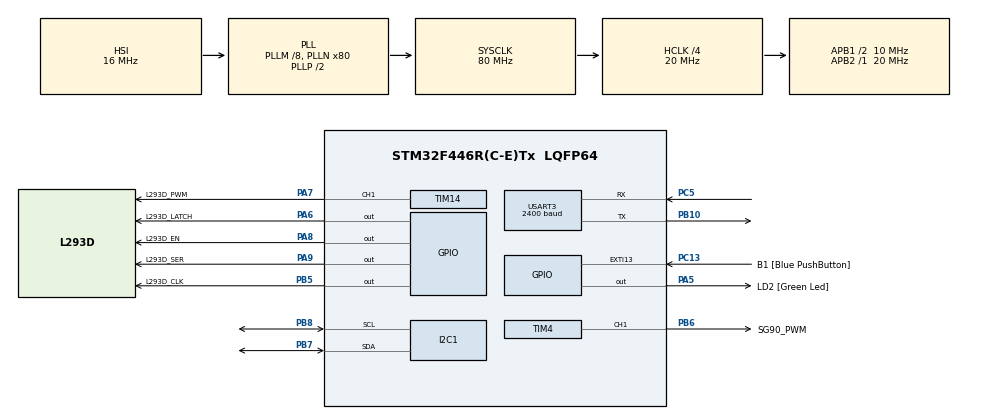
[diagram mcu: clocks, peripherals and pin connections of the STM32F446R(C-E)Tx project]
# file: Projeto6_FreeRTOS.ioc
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Mcu.Family=STM32F4
FREERTOS.Queues01=queueMagnetometro,1,float,0,Dynamic,NULL,NULL;queueBluetooth,16,char,0,Dynamic,NULL,NULL;queueMotorDC,1,uint8_t,0,Dynamic,NULL,NULL;queueServoMotor,1,uint16_t,0,Dynamic,NULL,NULL
RCC.CortexFreq_Value=20000000
PB10.Mode=Asynchronous
PA14.GPIO_Label=TCK
PA6.GPIO_Label=L293D_LATCH
PB6.GPIO_Label=SG90_PWM
PC5.Mode=Asynchronous
PC13.GPIO_Label=B1 [Blue PushButton]
RCC.SYSCLKSource=RCC_SYSCLKSOURCE_PLLCLK
ProjectManager.StackSize=0x400
VP_FREERTOS_VS_CMSIS_V2.Mode=CMSIS_V2
USART3.BaudRate=2400
SH.S_TIM14_CH1.0=TIM14_CH1,PWM Generation1 CH1
RCC.HCLKFreq_Value=20000000
RCC.APB2TimFreq_Value=20000000
TIM4.Pulse-PWM\ Generation1\ CH1=75
PB6.Signal=S_TIM4_CH1
RCC.AHBFreq_Value=20000000
RCC.HSE_VALUE=8000000
PA14.Mode=Serial_Wire
VP_SYS_VS_tim1.Mode=TIM1
PB7.Signal=I2C1_SDA
PA8.Signal=GPIO_Output
TIM4.Period=1250 -1
RCC.FLatency-AdvancedSettings=FLASH_LATENCY_0
Mcu.Package=LQFP64
PA6.Signal=GPIO_Output
NVIC.TimeBase=TIM1_UP_TIM10_IRQn
NVIC.TimeBaseIP=TIM1
PB5.GPIO_Label=L293D_CLK
SH.S_TIM4_CH1.0=TIM4_CH1,PWM Generation1 CH1
RCC.APB1TimFreq_Value=20000000
PC5.Signal=USART3_RX
VP_TIM14_VS_ClockSourceINT.Mode=Enable_Timer
PB3.GPIO_Label=SWO
TIM4.Channel-PWM\ Generation1\ CH1=TIM_CHANNEL_1
FREERTOS.Tasks01=controlador,24,128,startControlador,Default,NULL,Dynamic,NULL,NULL;magnetometro,24,128,startMagnetometro,Default,NULL,Dynamic,NULL,NULL;servoMotor,24,128,startServoMotor,Default,NULL,Dynamic,NULL,NULL;bluetooth,24,128,startBluetooth,Default,NULL,Dynamic,NULL,NULL;motorDC,24,128,startMotorDC,Default,NULL,Dynamic,NULL,NULL
PC13.Signal=GPXTI13
PA9.GPIO_Label=L293D_SER
RCC.APB1CLKDivider=RCC_HCLK_DIV2
PA13.Signal=SYS_JTMS-SWDIO
PA8.GPIO_Label=L293D_EN
ProjectManager.TargetToolchain=STM32CubeIDE
PA9.Signal=GPIO_Output
RCC.USBFreq_Value=80000000
TIM4.Prescaler=320-1
PB10.Signal=USART3_TX
PA5.Signal=GPIO_Output
board=NUCLEO-F446RE
RCC.VCOOutputFreq_Value=160000000
RCC.APB2Freq_Value=20000000
TIM14.Channel=TIM_CHANNEL_1
RCC.AHBCLKDivider=RCC_SYSCLK_DIV4
PA13.Mode=Serial_Wire
Mcu.Name=STM32F446R(C-E)Tx
PA13.GPIO_Label=TMS
RCC.48MHZClocksFreq_Value=84000000
PB3.Signal=SYS_JTDO-SWO
RCC.SYSCLKFreq_VALUE=80000000
PB5.Signal=GPIO_Output
PA7.GPIO_Label=L293D_PWM
PA5.GPIO_Label=LD2 [Green Led]
PC13.GPIO_ModeDefaultEXTI=GPIO_MODE_IT_FALLING
USART3.VirtualMode=VM_ASYNC
PB7.Mode=I2C
PA14.Signal=SYS_JTCK-SWCLK
ProjectManager.HeapSize=0x200
NVIC.TIM1_UP_TIM10_IRQn=true\:0\:0\:false\:false\:true\:false\:false\:true
RCC.HSI_VALUE=16000000
VP_TIM4_VS_ClockSourceINT.Mode=Internal
NVIC.PriorityGroup=NVIC_PRIORITYGROUP_4
RCC.PLLM=8
PB8.Mode=I2C
RCC.PLLN=80
PB8.Signal=I2C1_SCL
RCC.APB1Freq_Value=10000000
PA7.Signal=S_TIM14_CH1

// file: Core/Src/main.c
/* USER CODE BEGIN Header */
/**
  ******************************************************************************
  * @file           : main.c
  * @brief          : Main program body
  ******************************************************************************
  * @attention
  *
  * <h2><center>&copy; Copyright (c) 2023 STMicroelectronics.
  * All rights reserved.</center></h2>
  *
  * This software component is licensed by ST under BSD 3-Clause license,
  * the "License"; You may not use this file except in compliance with the
  * License. You may obtain a copy of the License at:
  *                        opensource.org/licenses/BSD-3-Clause
  *
  ******************************************************************************
  */
/* USER CODE END Header */
#include "main.h"
#include "cmsis_os.h"

/* USER CODE BEGIN Includes */

#include "SERVOMOTOR.h"
#include "L293D.h"
#include "bluetooth.h"
#include "MAGNETOMETRO.h"
#include "queue.h"

/* USER CODE END Includes */

/* USER CODE BEGIN PD */

#define TEMPLO_CICLO_CONTROLE 5000
#define NUMERO_DE_LEITURAS_MAGNETOMETRO 5

#define BIT_MAGNETOMETRO 0x01
#define BIT_BLUETOOTH 0x02
#define BIT_SERVO_MOTOR 0x04
#define BIT_MOTOR_DC 0x08

/* USER CODE END PD */

I2C_HandleTypeDef hi2c1;

TIM_HandleTypeDef htim4;
TIM_HandleTypeDef htim14;

UART_HandleTypeDef huart3;

/* Definitions for controlador */
osThreadId_t controladorHandle;
const osThreadAttr_t controlador_attributes = {
  .name = "controlador",
  .stack_size = 128 * 4,
  .priority = (osPriority_t) osPriorityNormal,
};
/* Definitions for magnetometro */
osThreadId_t magnetometroHandle;
const osThreadAttr_t magnetometro_attributes = {
  .name = "magnetometro",
  .stack_size = 128 * 4,
  .priority = (osPriority_t) osPriorityNormal,
};
/* Definitions for servoMotor */
osThreadId_t servoMotorHandle;
const osThreadAttr_t servoMotor_attributes = {
  .name = "servoMotor",
  .stack_size = 128 * 4,
  .priority = (osPriority_t) osPriorityNormal,
};
/* Definitions for bluetooth */
osThreadId_t bluetoothHandle;
const osThreadAttr_t bluetooth_attributes = {
  .name = "bluetooth",
  .stack_size = 128 * 4,
  .priority = (osPriority_t) osPriorityNormal,
};
/* Definitions for motorDC */
osThreadId_t motorDCHandle;
const osThreadAttr_t motorDC_attributes = {
  .name = "motorDC",
  .stack_size = 128 * 4,
  .priority = (osPriority_t) osPriorityNormal,
};
/* Definitions for queueMagnetometro */
osMessageQueueId_t queueMagnetometroHandle;
const osMessageQueueAttr_t queueMagnetometro_attributes = {
  .name = "queueMagnetometro"
};
/* Definitions for queueBluetooth */
osMessageQueueId_t queueBluetoothHandle;
const osMessageQueueAttr_t queueBluetooth_attributes = {
  .name = "queueBluetooth"
};
/* Definitions for queueMotorDC */
osMessageQueueId_t queueMotorDCHandle;
const osMessageQueueAttr_t queueMotorDC_attributes = {
  .name = "queueMotorDC"
};
/* Definitions for queueServoMotor */
osMessageQueueId_t queueServoMotorHandle;
const osMessageQueueAttr_t queueServoMotor_attributes = {
  .name = "queueServoMotor"
};
/* USER CODE BEGIN PV */

osEventFlagsId_t grupoEventosBarco;

/* USER CODE END PV */

void SystemClock_Config(void);
static void MX_GPIO_Init(void);
static void MX_I2C1_Init(void);
static void MX_TIM4_Init(void);
static void MX_TIM14_Init(void);
static void MX_USART3_UART_Init(void);
void startControlador(void *argument);
void startMagnetometro(void *argument);
void startServoMotor(void *argument);
void startBluetooth(void *argument);
void startMotorDC(void *argument);

int main(void)
{

  /* MCU Configuration--------------------------------------------------------*/

  /* Reset of all peripherals, Initializes the Flash interface and the Systick. */
  HAL_Init();

  /* Configure the system clock */
  SystemClock_Config();

  /* Initialize all configured peripherals */
  MX_GPIO_Init();
  MX_I2C1_Init();
  MX_TIM4_Init();
  MX_TIM14_Init();
  MX_USART3_UART_Init();

  /* Init scheduler */
  osKernelInitialize();

  /* Create the queue(s) */
  /* creation of queueMagnetometro */
  queueMagnetometroHandle = osMessageQueueNew (1, sizeof(float), &queueMagnetometro_attributes);

  /* creation of queueBluetooth */
  queueBluetoothHandle = osMessageQueueNew (16, sizeof(char), &queueBluetooth_attributes);

  /* creation of queueMotorDC */
  queueMotorDCHandle = osMessageQueueNew (1, sizeof(uint8_t), &queueMotorDC_attributes);

  /* creation of queueServoMotor */
  queueServoMotorHandle = osMessageQueueNew (1, sizeof(uint16_t), &queueServoMotor_attributes);

  /* Create the thread(s) */
  /* creation of controlador */
  controladorHandle = osThreadNew(startControlador, NULL, &controlador_attributes);

  /* creation of magnetometro */
  magnetometroHandle = osThreadNew(startMagnetometro, NULL, &magnetometro_attributes);

  /* creation of servoMotor */
  servoMotorHandle = osThreadNew(startServoMotor, NULL, &servoMotor_attributes);

  /* creation of bluetooth */
  bluetoothHandle = osThreadNew(startBluetooth, NULL, &bluetooth_attributes);

  /* creation of motorDC */
  motorDCHandle = osThreadNew(startMotorDC, NULL, &motorDC_attributes);

  /* USER CODE BEGIN RTOS_THREADS */
  // Declara grupo de eventos utilizado
  grupoEventosBarco = osEventFlagsNew(NULL);

  /* add threads, ... */
  /* USER CODE END RTOS_THREADS */

  /* Start scheduler */
  osKernelStart();

  /* We should never get here as control is now taken by the scheduler */
  /* Infinite loop */
  while (1)
  {

  }
}

void SystemClock_Config(void)
{
  RCC_OscInitTypeDef RCC_OscInitStruct = {0};
  RCC_ClkInitTypeDef RCC_ClkInitStruct = {0};

  /** Configure the main internal regulator output voltage
  */
  __HAL_RCC_PWR_CLK_ENABLE();
  __HAL_PWR_VOLTAGESCALING_CONFIG(PWR_REGULATOR_VOLTAGE_SCALE3);
  /** Initializes the RCC Oscillators according to the specified parameters
  * in the RCC_OscInitTypeDef structure.
  */
  RCC_OscInitStruct.OscillatorType = RCC_OSCILLATORTYPE_HSI;
  RCC_OscInitStruct.HSIState = RCC_HSI_ON;
  RCC_OscInitStruct.HSICalibrationValue = RCC_HSICALIBRATION_DEFAULT;
  RCC_OscInitStruct.PLL.PLLState = RCC_PLL_ON;
  RCC_OscInitStruct.PLL.PLLSource = RCC_PLLSOURCE_HSI;
  RCC_OscInitStruct.PLL.PLLM = 8;
  RCC_OscInitStruct.PLL.PLLN = 80;
  RCC_OscInitStruct.PLL.PLLP = RCC_PLLP_DIV2;
  RCC_OscInitStruct.PLL.PLLQ = 2;
  RCC_OscInitStruct.PLL.PLLR = 2;
  if (HAL_RCC_OscConfig(&RCC_OscInitStruct) != HAL_OK)
  {
    Error_Handler();
  }
  /** Initializes the CPU, AHB and APB buses clocks
  */
  RCC_ClkInitStruct.ClockType = RCC_CLOCKTYPE_HCLK|RCC_CLOCKTYPE_SYSCLK
                              |RCC_CLOCKTYPE_PCLK1|RCC_CLOCKTYPE_PCLK2;
  RCC_ClkInitStruct.SYSCLKSource = RCC_SYSCLKSOURCE_PLLCLK;
  RCC_ClkInitStruct.AHBCLKDivider = RCC_SYSCLK_DIV4;
  RCC_ClkInitStruct.APB1CLKDivider = RCC_HCLK_DIV2;
  RCC_ClkInitStruct.APB2CLKDivider = RCC_HCLK_DIV1;

  if (HAL_RCC_ClockConfig(&RCC_ClkInitStruct, FLASH_LATENCY_0) != HAL_OK)
  {
    Error_Handler();
  }
}

static void MX_I2C1_Init(void)
{

  hi2c1.Instance = I2C1;
  hi2c1.Init.ClockSpeed = 100000;
  hi2c1.Init.DutyCycle = I2C_DUTYCYCLE_2;
  hi2c1.Init.OwnAddress1 = 0;
  hi2c1.Init.AddressingMode = I2C_ADDRESSINGMODE_7BIT;
  hi2c1.Init.DualAddressMode = I2C_DUALADDRESS_DISABLE;
  hi2c1.Init.OwnAddress2 = 0;
  hi2c1.Init.GeneralCallMode = I2C_GENERALCALL_DISABLE;
  hi2c1.Init.NoStretchMode = I2C_NOSTRETCH_DISABLE;
  if (HAL_I2C_Init(&hi2c1) != HAL_OK)
  {
    Error_Handler();
  }

}

static void MX_TIM4_Init(void)
{

  TIM_ClockConfigTypeDef sClockSourceConfig = {0};
  TIM_MasterConfigTypeDef sMasterConfig = {0};
  TIM_OC_InitTypeDef sConfigOC = {0};

  htim4.Instance = TIM4;
  htim4.Init.Prescaler = 320-1;
  htim4.Init.CounterMode = TIM_COUNTERMODE_UP;
  htim4.Init.Period = 1250 -1;
  htim4.Init.ClockDivision = TIM_CLOCKDIVISION_DIV1;
  htim4.Init.AutoReloadPreload = TIM_AUTORELOAD_PRELOAD_DISABLE;
  if (HAL_TIM_Base_Init(&htim4) != HAL_OK)
  {
    Error_Handler();
  }
  sClockSourceConfig.ClockSource = TIM_CLOCKSOURCE_INTERNAL;
  if (HAL_TIM_ConfigClockSource(&htim4, &sClockSourceConfig) != HAL_OK)
  {
    Error_Handler();
  }
  if (HAL_TIM_PWM_Init(&htim4) != HAL_OK)
  {
    Error_Handler();
  }
  sMasterConfig.MasterOutputTrigger = TIM_TRGO_RESET;
  sMasterConfig.MasterSlaveMode = TIM_MASTERSLAVEMODE_DISABLE;
  if (HAL_TIMEx_MasterConfigSynchronization(&htim4, &sMasterConfig) != HAL_OK)
  {
    Error_Handler();
  }
  sConfigOC.OCMode = TIM_OCMODE_PWM1;
  sConfigOC.Pulse = 75;
  sConfigOC.OCPolarity = TIM_OCPOLARITY_HIGH;
  sConfigOC.OCFastMode = TIM_OCFAST_DISABLE;
  if (HAL_TIM_PWM_ConfigChannel(&htim4, &sConfigOC, TIM_CHANNEL_1) != HAL_OK)
  {
    Error_Handler();
  }
  HAL_TIM_MspPostInit(&htim4);

}

static void MX_TIM14_Init(void)
{

  TIM_OC_InitTypeDef sConfigOC = {0};

  htim14.Instance = TIM14;
  htim14.Init.Prescaler = 0;
  htim14.Init.CounterMode = TIM_COUNTERMODE_UP;
  htim14.Init.Period = 65535;
  htim14.Init.ClockDivision = TIM_CLOCKDIVISION_DIV1;
  htim14.Init.AutoReloadPreload = TIM_AUTORELOAD_PRELOAD_DISABLE;
  if (HAL_TIM_Base_Init(&htim14) != HAL_OK)
  {
    Error_Handler();
  }
  if (HAL_TIM_PWM_Init(&htim14) != HAL_OK)
  {
    Error_Handler();
  }
  sConfigOC.OCMode = TIM_OCMODE_PWM1;
  sConfigOC.Pulse = 0;
  sConfigOC.OCPolarity = TIM_OCPOLARITY_HIGH;
  sConfigOC.OCFastMode = TIM_OCFAST_DISABLE;
  if (HAL_TIM_PWM_ConfigChannel(&htim14, &sConfigOC, TIM_CHANNEL_1) != HAL_OK)
  {
    Error_Handler();
  }
  HAL_TIM_MspPostInit(&htim14);

}

static void MX_USART3_UART_Init(void)
{

  huart3.Instance = USART3;
  huart3.Init.BaudRate = 230400;
  huart3.Init.WordLength = UART_WORDLENGTH_8B;
  huart3.Init.StopBits = UART_STOPBITS_1;
  huart3.Init.Parity = UART_PARITY_NONE;
  huart3.Init.Mode = UART_MODE_TX_RX;
  huart3.Init.HwFlowCtl = UART_HWCONTROL_NONE;
  huart3.Init.OverSampling = UART_OVERSAMPLING_16;
  if (HAL_UART_Init(&huart3) != HAL_OK)
  {
    Error_Handler();
  }

}

static void MX_GPIO_Init(void)
{
  GPIO_InitTypeDef GPIO_InitStruct = {0};

  /* GPIO Ports Clock Enable */
  __HAL_RCC_GPIOC_CLK_ENABLE();
  __HAL_RCC_GPIOA_CLK_ENABLE();
  __HAL_RCC_GPIOB_CLK_ENABLE();

  /*Configure GPIO pin Output Level */
  HAL_GPIO_WritePin(GPIOA, LD2_Pin|L293D_LATCH_Pin|L293D_EN_Pin|L293D_SER_Pin, GPIO_PIN_RESET);

  /*Configure GPIO pin Output Level */
  HAL_GPIO_WritePin(L293D_CLK_GPIO_Port, L293D_CLK_Pin, GPIO_PIN_RESET);

  /*Configure GPIO pin : B1_Pin */
  GPIO_InitStruct.Pin = B1_Pin;
  GPIO_InitStruct.Mode = GPIO_MODE_IT_FALLING;
  GPIO_InitStruct.Pull = GPIO_NOPULL;
  HAL_GPIO_Init(B1_GPIO_Port, &GPIO_InitStruct);

  /*Configure GPIO pins : LD2_Pin L293D_LATCH_Pin L293D_EN_Pin L293D_SER_Pin */
  GPIO_InitStruct.Pin = LD2_Pin|L293D_LATCH_Pin|L293D_EN_Pin|L293D_SER_Pin;
  GPIO_InitStruct.Mode = GPIO_MODE_OUTPUT_PP;
  GPIO_InitStruct.Pull = GPIO_NOPULL;
  GPIO_InitStruct.Speed = GPIO_SPEED_FREQ_LOW;
  HAL_GPIO_Init(GPIOA, &GPIO_InitStruct);

  /*Configure GPIO pin : L293D_CLK_Pin */
  GPIO_InitStruct.Pin = L293D_CLK_Pin;
  GPIO_InitStruct.Mode = GPIO_MODE_OUTPUT_PP;
  GPIO_InitStruct.Pull = GPIO_NOPULL;
  GPIO_InitStruct.Speed = GPIO_SPEED_FREQ_LOW;
  HAL_GPIO_Init(L293D_CLK_GPIO_Port, &GPIO_InitStruct);

}

void startControlador(void *argument)
{
  /* USER CODE BEGIN 5 */

	uint32_t eventosBarco;

  /* Infinite loop */
  for(;;)
  {
	// Delay entre os ciclos de controle
	osDelay(pdMS_TO_TICKS(TEMPLO_CICLO_CONTROLE));

	// Seta as flags do bluetooth e magnetômetro
	osEventFlagsSet(grupoEventosBarco, BIT_MAGNETOMETRO | BIT_BLUETOOTH);

	// Espera até que os bits do bluetooth e magnetômetro sejam iguais a 0
	eventosBarco = osEventFlagsGet(grupoEventosBarco);
	while( (eventosBarco & BIT_BLUETOOTH) | (eventosBarco & BIT_MAGNETOMETRO) )
	{
		eventosBarco = osEventFlagsGet(grupoEventosBarco);
		osDelay(pdMS_TO_TICKS(10));
	}

	// TODO: Pegar as informações das queues do magnetômetro e bluetooth

	// TODO: Realiza as equações da estratégia de controle

	// TODO: Adiciona a nova velocidade e ângulo para as filas correspondentes

	// Seta os bits de evento do motor dc e do servomotor após a adição dos elementos à fila
	osEventFlagsSet(grupoEventosBarco, BIT_SERVO_MOTOR | BIT_MOTOR_DC);

	// Espera até que os bits do servomotor e motor DC sejam iguais a 0
	eventosBarco = osEventFlagsGet(grupoEventosBarco);
	while( (eventosBarco & BIT_SERVO_MOTOR) | (eventosBarco & BIT_MOTOR_DC) )
	{
		eventosBarco = osEventFlagsGet(grupoEventosBarco);
		osDelay(pdMS_TO_TICKS(10));
	}

  }
  /* USER CODE END 5 */
}

void startMagnetometro(void *argument)
{
  /* USER CODE BEGIN startMagnetometro */

  // Parâmetros magnetômetro
  uint8_t config[3] = {0x70, 0xA0, 0x00}; // Valores de exemplo para CONTROL REG A, CONTROL REG B e MODE REGISTER
  // config[0] = 0x70 = 01110000 -> Configuração de medição normal, output de dados de 15 Hz e média de 8 amostras por medição
  // config[1] = 0xA0 = 10100000 -> Ganho de 4.7 GA
  // config[2] = 0x00 = 00000000 -> Modo de leitura contínua
  configuraMagnetometro(hi2c1, config[0], config[1], config[2]);

  float anguloMagnetometro = 0;
  float leiturasMagnetometro[NUMERO_DE_LEITURAS_MAGNETOMETRO];

  /* Infinite loop */
  for(;;)
  {
	// Espera até que a task controlador solicite uma leitura
	osEventFlagsWait(grupoEventosBarco, BIT_MAGNETOMETRO, osFlagsNoClear, osWaitForever);

	// Realiza leituras
	for(int i = 0; i < NUMERO_DE_LEITURAS_MAGNETOMETRO; i ++)
	{
		leiturasMagnetometro[i] = getAngulo(hi2c1);
		anguloMagnetometro += leiturasMagnetometro[i];
		leiturasMagnetometro[i] = 0;
	}
	anguloMagnetometro = anguloMagnetometro / NUMERO_DE_LEITURAS_MAGNETOMETRO;

	// Envia informações para a fila
	xQueueSend(queueMagnetometroHandle, &anguloMagnetometro, 100);
	// Seta o valor do ângulo do magnetômetro para 0
	anguloMagnetometro = 0;

	// Realiza um clear no grupo de eventos após enviar suas informações
    osEventFlagsClear(grupoEventosBarco, BIT_MAGNETOMETRO);
  }
  /* USER CODE END startMagnetometro */
}

void startServoMotor(void *argument)
{
  /* USER CODE BEGIN startServoMotor */

  // Variáveis de controle
  UBaseType_t quantidadeElementosQueue = 0;
  uint16_t anguloServoMotor = 0; // Ângulo recebido pela queue

  uint16_t testAngle = 0;

  /* Infinite loop */
  for(;;)
  {
    // Espera até que a task controlador solicite uma mudança de velocidade
	osEventFlagsWait(grupoEventosBarco, BIT_SERVO_MOTOR, osFlagsNoClear, osWaitForever);

	quantidadeElementosQueue =  uxQueueMessagesWaiting(queueServoMotorHandle);

	/*
	if(quantidadeElementosQueue > 0)
	{
		xQueueReceive(queueServoMotorHandle, &anguloServoMotor, pdMS_TO_TICKS(100));

		// Altera o ângulo do servomotor
		setPWMAngulo(&htim4, TIM_CHANNEL_1, 1250 , anguloServoMotor);

	}*/
	testAngle += 2;
	if(testAngle >= 45)
	{
		testAngle = 45;
	}
	//xQueueReceive(queueServoMotorHandle, &anguloServoMotor, pdMS_TO_TICKS(100));

	// Altera o ângulo do servomotor
	setServoAngle(&htim4, TIM_CHANNEL_1, 1250 , testAngle);

	HAL_Delay(500);

	//setPWMAngulo(&htim4, TIM_CHANNEL_1, 1250 , 180);

	//setPWMAngulo(htim4, TIM_CHANNEL_1, 1250 , 135);

	//HAL_Delay(5000);

	// Limpa a flag após mudar o ângulo do barco
    osEventFlagsClear(grupoEventosBarco, BIT_SERVO_MOTOR);
  }
  /* USER CODE END startServoMotor */
}

void startBluetooth(void *argument)
{
  /* USER CODE BEGIN startBluetooth */

	// String que armazena os resultados lidos pelo módulo bluetooth
	char respostaBluetooth[128] = {0};
	// Verifica se o módulo bluetooth está respondendo aos comandos
	//getResponse(huart3, respostaBluetooth);
	//start(huart3);
	//getResponse(huart3, respostaBluetooth);

	char envio[32] = {0};
	char resposta[32] = {0};
	sprintf(envio,"AT+BAUD\r\n");

  /* Infinite loop */
  for(;;)
  {
	// Espera até que a task controlador solicite uma leitura
	osEventFlagsWait(grupoEventosBarco, BIT_BLUETOOTH, osFlagsNoClear, osWaitForever);

	//HAL_UART_Transmit(&huart3, (uint8_t *) envio, strlen(envio), 100);
	//HAL_UART_Receive(&huart3, (uint8_t *)resposta, 8, 1000);
	// TODO: Realizar leituras filtradas
	//localizarBeacons(huart3, respostaBluetooth);

	// TODO: Enviar informações para a fila

	// Após enviar informações para a fila, dá um clear no bit do magnetômetro
	osEventFlagsClear(grupoEventosBarco, BIT_BLUETOOTH);
  }
  /* USER CODE END startBluetooth */
}

void startMotorDC(void *argument)
{
  /* USER CODE BEGIN startMotorDC */

  UBaseType_t quantidadeElementosQueue = 0;
  uint8_t velocidadeMotorDC = 0; // Velocidade recebida por queueMotorDC

  // Structs de configuração para o PWM e o HC595
  motor_dc motorTeste;
  HC595 hc595;

  // Configuração das structs de interação com o motor e com o HC595
  configHC595(&hc595, L293D_EN_GPIO_Port, L293D_EN_Pin, L293D_CLK_GPIO_Port, L293D_CLK_Pin, L293D_SER_GPIO_Port, L293D_SER_Pin);
  configMotor(&motorTeste, htim14, TIM_CHANNEL_1);

  // TODO: Adicionar mensagens de debug

  /* Infinite loop */
  for(;;)
  {
	// Espera até que a task controlador solicite uma mudança de velocidade
	osEventFlagsWait(grupoEventosBarco, BIT_MOTOR_DC, osFlagsNoClear, osWaitForever);

	// Verifica quantidade de elementos na queue
	/*
	quantidadeElementosQueue =  uxQueueMessagesWaiting(queueMotorDCHandle);
	if(quantidadeElementosQueue > 0)
	{
		xQueueReceive(queueMotorDCHandle, &velocidadeMotorDC, pdMS_TO_TICKS(100));

		// Altera a velocidade do motor
		changeMotorSpeed(&motorTeste, velocidadeMotorDC);

	}*/

	changeMotorSpeed(&motorTeste, 100);

    // Limpa a flag após mudar a velocidade do barco
    osEventFlagsClear(grupoEventosBarco, BIT_MOTOR_DC);
  }
  /* USER CODE END startMotorDC */
}

 /**
  * @brief  Period elapsed callback in non blocking mode
  * @note   This function is called  when TIM1 interrupt took place, inside
  * HAL_TIM_IRQHandler(). It makes a direct call to HAL_IncTick() to increment
  * a global variable "uwTick" used as application time base.
  * @param  htim : TIM handle
  * @retval None
  */
void HAL_TIM_PeriodElapsedCallback(TIM_HandleTypeDef *htim)
{
  if (htim->Instance == TIM1) {
    HAL_IncTick();
  }
}

void Error_Handler(void)
{
  __disable_irq();
  while (1)
  {
  }
}

/************************ (C) COPYRIGHT STMicroelectronics *****END OF FILE****/

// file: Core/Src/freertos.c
/* USER CODE BEGIN Header */
/**
  ******************************************************************************
  * File Name          : freertos.c
  * Description        : Code for freertos applications
  ******************************************************************************
  * @attention
  *
  * <h2><center>&copy; Copyright (c) 2023 STMicroelectronics.
  * All rights reserved.</center></h2>
  *
  * This software component is licensed by ST under Ultimate Liberty license
  * SLA0044, the "License"; You may not use this file except in compliance with
  * the License. You may obtain a copy of the License at:
  *                             www.st.com/SLA0044
  *
  ******************************************************************************
  */
/* USER CODE END Header */

#include "FreeRTOS.h"
#include "task.h"
#include "main.h"

/* GetIdleTaskMemory prototype (linked to static allocation support) */
void vApplicationGetIdleTaskMemory( StaticTask_t **ppxIdleTaskTCBBuffer, StackType_t **ppxIdleTaskStackBuffer, uint32_t *pulIdleTaskStackSize );

/* USER CODE BEGIN GET_IDLE_TASK_MEMORY */
static StaticTask_t xIdleTaskTCBBuffer;
static StackType_t xIdleStack[configMINIMAL_STACK_SIZE];

void vApplicationGetIdleTaskMemory( StaticTask_t **ppxIdleTaskTCBBuffer, StackType_t **ppxIdleTaskStackBuffer, uint32_t *pulIdleTaskStackSize )
{
  *ppxIdleTaskTCBBuffer = &xIdleTaskTCBBuffer;
  *ppxIdleTaskStackBuffer = &xIdleStack[0];
  *pulIdleTaskStackSize = configMINIMAL_STACK_SIZE;
  /* place for user code */
}
/* USER CODE END GET_IDLE_TASK_MEMORY */

/************************ (C) COPYRIGHT STMicroelectronics *****END OF FILE****/
